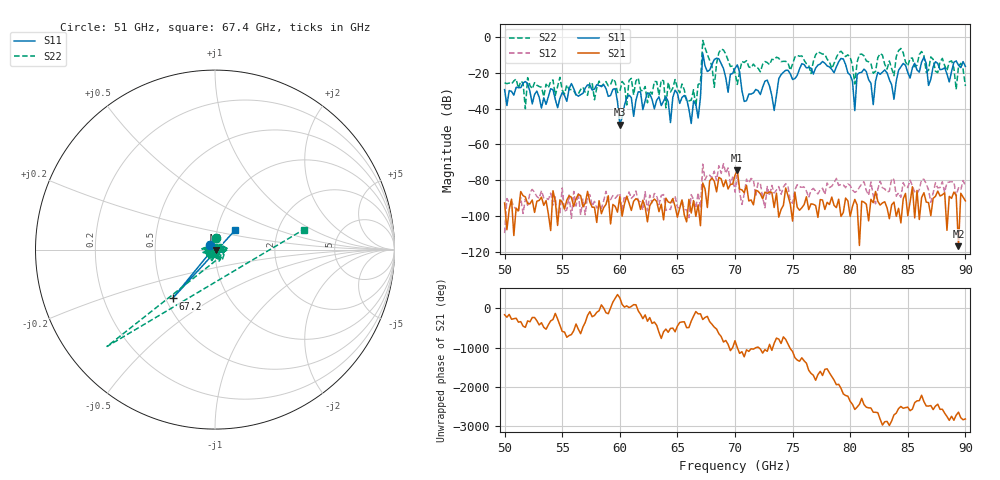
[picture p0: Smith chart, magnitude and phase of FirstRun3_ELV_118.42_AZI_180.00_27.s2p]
! 11/24/2026 3:38:58 PM
! C:\ANRITSUVNA\TEMP\TEMP.S2P
! CHANNEL.1
! TR.MEASUREMENT
! RAW.DATA
# HZ S RI R 50.0
! FREQ.HZ  S11RE  S11IM  S21RE  S21IM  S12RE  S12IM  S22RE  S22IM
!; PortSelection: Port_12
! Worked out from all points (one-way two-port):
!   201 points, 50 GHz to 90 GHz, reference 50 ohm
!   highest |S21| = -74.50 dB at 70.2 GHz (marker M1); lowest = -116.9 dB at 89.4 GHz (marker M2)
!   lowest |S11| = -48.9 dB at 60 GHz (marker M3), VSWR 1.01, Z = 50.3 - j0.154 ohm
!   |S11| at or under -10 dB: start of sweep to 67.19 GHz; 67.23 GHz to end of sweep
!   |S22| runs from -40.0 to -1.9 dB; largest |S21 - S12| = 0.00035
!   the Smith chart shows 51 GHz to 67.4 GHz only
!   S11 on the Smith chart (normalised r, x): 51 GHz: 0.94, +0.05; 67.2 GHz: 0.54, -0.34; 67.4 GHz: 1.22, +0.27
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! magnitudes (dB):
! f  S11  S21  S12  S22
! 50 GHz  -29.4  -92.8  -109.6  -25.6
! 51 GHz  -28.1  -95.7  -96.2  -23.4
! 56.8 GHz  -31.4  -94.9  -90.6  -28.0
! 59.6 GHz  -28.8  -94.7  -90.2  -25.0
! 60 GHz  -48.9  -89.3  -87.4  -30.5
! 63.4 GHz  -33.4  -97.6  -93.7  -32.6
! 66.8 GHz  -45.3  -93.8  -87.0  -26.5
! 67.2 GHz  -8.9  -81.6  -71.1  -1.9
! 67.4 GHz  -16.1  -84.9  -79.8  -5.9
! 68.2 GHz  -12.5  -80.6  -75.0  -28.0
! 68.8 GHz  -14.8  -79.3  -76.2  -6.7
! 70 GHz  -17.4  -77.3  -86.8  -19.9
! 70.2 GHz  -15.5  -74.5  -77.1  -26.4
! 73.4 GHz  -41.0  -95.3  -87.2  -12.6
! 74.2 GHz  -19.7  -94.1  -83.9  -13.5
! 76.8 GHz  -20.6  -93.5  -84.6  -13.6
! 79.4 GHz  -12.2  -98.2  -82.7  -9.4
! 80.4 GHz  -41.1  -90.8  -86.8  -26.2
! 80.6 GHz  -21.1  -93.8  -86.2  -14.0
! 83.4 GHz  -23.7  -101.6  -86.2  -13.3
! 89.4 GHz  -15.7  -116.9  -84.3  -16.5
! 90 GHz  -16.4  -91.6  -83.2  -27.3
